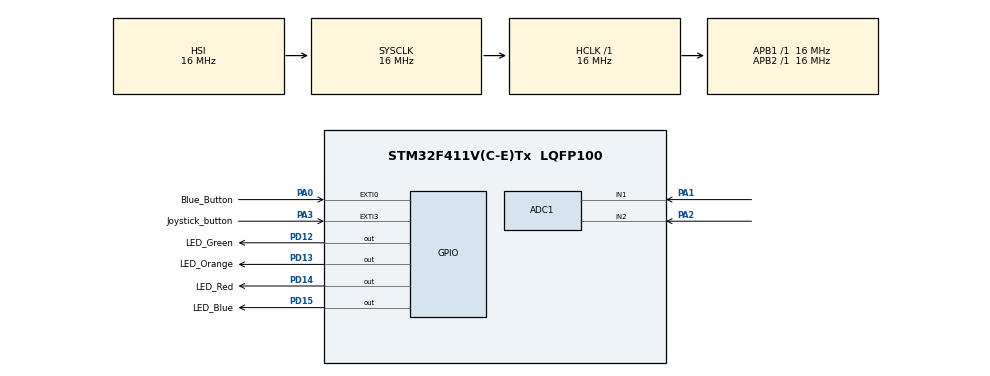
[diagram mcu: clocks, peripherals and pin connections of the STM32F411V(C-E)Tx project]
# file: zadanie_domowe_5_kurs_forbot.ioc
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ADC1.Channel-4\#ChannelRegularConversion=ADC_CHANNEL_1
ADC1.Channel-6\#ChannelRegularConversion=ADC_CHANNEL_2
ADC1.Channel-7\#ChannelRegularConversion=ADC_CHANNEL_TEMPSENSOR
ADC1.ClockPrescaler=ADC_CLOCK_SYNC_PCLK_DIV8
ADC1.ContinuousConvMode=ENABLE
ADC1.DMAContinuousRequests=ENABLE
ADC1.NbrOfConversion=3
ADC1.NbrOfConversionFlag=1
ADC1.Rank-4\#ChannelRegularConversion=1
ADC1.Rank-6\#ChannelRegularConversion=2
ADC1.Rank-7\#ChannelRegularConversion=3
ADC1.SamplingTime-4\#ChannelRegularConversion=ADC_SAMPLETIME_480CYCLES
ADC1.SamplingTime-6\#ChannelRegularConversion=ADC_SAMPLETIME_480CYCLES
ADC1.SamplingTime-7\#ChannelRegularConversion=ADC_SAMPLETIME_480CYCLES
ADC1.ScanConvMode=ENABLE
ADC1.master=1
Dma.ADC1.0.Direction=DMA_PERIPH_TO_MEMORY
Dma.ADC1.0.FIFOMode=DMA_FIFOMODE_DISABLE
Dma.ADC1.0.Instance=DMA2_Stream0
Dma.ADC1.0.MemDataAlignment=DMA_MDATAALIGN_HALFWORD
Dma.ADC1.0.MemInc=DMA_MINC_ENABLE
Dma.ADC1.0.Mode=DMA_CIRCULAR
Dma.ADC1.0.PeriphDataAlignment=DMA_PDATAALIGN_HALFWORD
Dma.ADC1.0.PeriphInc=DMA_PINC_DISABLE
Dma.ADC1.0.Priority=DMA_PRIORITY_LOW
Dma.Request0=ADC1
Mcu.Family=STM32F4
Mcu.Name=STM32F411V(C-E)Tx
Mcu.Package=LQFP100
NVIC.DMA2_Stream0_IRQn=true\:0\:0\:false\:false\:true
NVIC.EXTI0_IRQn=true\:0\:0\:false\:false\:true
NVIC.EXTI3_IRQn=true\:0\:0\:false\:false\:true
NVIC.PriorityGroup=NVIC_PRIORITYGROUP_4
PA0-WKUP.GPIO_Label=Blue_Button
PA0-WKUP.GPIO_ModeDefaultEXTI=GPIO_MODE_IT_RISING
PA0-WKUP.Signal=GPXTI0
PA1.Signal=ADCx_IN1
PA2.Signal=ADCx_IN2
PA3.GPIO_Label=Joystick_button
PA3.GPIO_ModeDefaultEXTI=GPIO_MODE_IT_FALLING
PA3.GPIO_PuPd=GPIO_PULLUP
PA3.Signal=GPXTI3
PD12.GPIO_Label=LED_Green
PD12.Signal=GPIO_Output
PD13.GPIO_Label=LED_Orange
PD13.Signal=GPIO_Output
PD14.GPIO_Label=LED_Red
PD14.Signal=GPIO_Output
PD15.GPIO_Label=LED_Blue
PD15.Signal=GPIO_Output
ProjectManager.HeapSize=0x200
ProjectManager.StackSize=0x400
ProjectManager.TargetToolchain=SW4STM32
RCC.AHBFreq_Value=16000000
RCC.APB1Freq_Value=16000000
RCC.APB2Freq_Value=16000000
RCC.CortexFreq_Value=16000000
RCC.HSE_VALUE=25000000
RCC.HSI_VALUE=16000000
RCC.LSE_VALUE=32768
RCC.SYSCLKFreq_VALUE=16000000
RCC.VCOOutputFreq_Value=192000000
SH.ADCx_IN1.0=ADC1_IN1,IN1
SH.ADCx_IN2.0=ADC1_IN2,IN2
VP_ADC1_TempSens_Input.Mode=IN-TempSens
board=zadanie_domowe_5_kurs_forbot

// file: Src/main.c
/**
  ******************************************************************************
  * File Name          : main.c
  * Description        : Main program body
  ******************************************************************************
  *
  * COPYRIGHT(c) 2017 STMicroelectronics
  *
  * Redistribution and use in source and binary forms, with or without modification,
  * are permitted provided that the following conditions are met:
  *   1. Redistributions of source code must retain the above copyright notice,
  *      this list of conditions and the following disclaimer.
  *   2. Redistributions in binary form must reproduce the above copyright notice,
  *      this list of conditions and the following disclaimer in the documentation
  *      and/or other materials provided with the distribution.
  *   3. Neither the name of STMicroelectronics nor the names of its contributors
  *      may be used to endorse or promote products derived from this software
  *      without specific prior written permission.
  *
  * THIS SOFTWARE IS PROVIDED BY THE COPYRIGHT HOLDERS AND CONTRIBUTORS "AS IS"
  * AND ANY EXPRESS OR IMPLIED WARRANTIES, INCLUDING, BUT NOT LIMITED TO, THE
  * IMPLIED WARRANTIES OF MERCHANTABILITY AND FITNESS FOR A PARTICULAR PURPOSE ARE
  * DISCLAIMED. IN NO EVENT SHALL THE COPYRIGHT HOLDER OR CONTRIBUTORS BE LIABLE
  * FOR ANY DIRECT, INDIRECT, INCIDENTAL, SPECIAL, EXEMPLARY, OR CONSEQUENTIAL
  * DAMAGES (INCLUDING, BUT NOT LIMITED TO, PROCUREMENT OF SUBSTITUTE GOODS OR
  * SERVICES; LOSS OF USE, DATA, OR PROFITS; OR BUSINESS INTERRUPTION) HOWEVER
  * CAUSED AND ON ANY THEORY OF LIABILITY, WHETHER IN CONTRACT, STRICT LIABILITY,
  * OR TORT (INCLUDING NEGLIGENCE OR OTHERWISE) ARISING IN ANY WAY OUT OF THE USE
  * OF THIS SOFTWARE, EVEN IF ADVISED OF THE POSSIBILITY OF SUCH DAMAGE.
  *
  ******************************************************************************
  */
#include "main.h"
#include "stm32f4xx_hal.h"

ADC_HandleTypeDef hadc1;
DMA_HandleTypeDef hdma_adc1;

/* USER CODE BEGIN PV */
/* Private variables ---------------------------------------------------------*/
#define ADC_RESOLUTION 4095
#define UPPER_THRESHOLD (75 * ADC_RESOLUTION) / 100
#define LOWER_THRESHOLD (25 * ADC_RESOLUTION) / 100
uint8_t Alarm = 0;
uint8_t Mode_inverse = 0;
uint8_t AlarmReset = 0;

uint16_t ADCRead[3];

/* USER CODE END PV */

void SystemClock_Config(void);
void Error_Handler(void);
static void MX_GPIO_Init(void);
static void MX_DMA_Init(void);
static void MX_ADC1_Init(void);

/* USER CODE BEGIN PFP */
/* Private function prototypes -----------------------------------------------*/

void HAL_GPIO_EXTI_Callback(uint16_t GPIO_Pin) {
	if (GPIO_Pin == Joystick_button_Pin) {
		if (Mode_inverse) {
			Mode_inverse = 0;
		} else {
			Mode_inverse = 1;
		}
	} else if (GPIO_Pin == Blue_Button_Pin) {
		if (Alarm) {
			Alarm = 0;
			AlarmReset = 1;
		}

	}
}
/* USER CODE END PFP */

int main(void)
{

  /* USER CODE BEGIN 1 */
	uint16_t measurementADC;
	float temperature;
	float Vsense;
	const float V25 = 0.76;
	const float Avg_slope = 0.0025;
	const float SupplyVoltage = 3.0;
	const float ADC_Resolution = 4095.0;
  /* USER CODE END 1 */

  /* MCU Configuration----------------------------------------------------------*/

  /* Reset of all peripherals, Initializes the Flash interface and the Systick. */
  HAL_Init();

  /* Configure the system clock */
  SystemClock_Config();

  /* Initialize all configured peripherals */
  MX_GPIO_Init();
  MX_DMA_Init();
  MX_ADC1_Init();

  /* USER CODE BEGIN 2 */
	HAL_ADC_Start_DMA(&hadc1, (uint32_t*)ADCRead, 3);

  /* USER CODE END 2 */

  /* Infinite loop */
  /* USER CODE BEGIN WHILE */
	while (1) {
		//Alarm
		if (Alarm) {
			HAL_GPIO_WritePin(LED_Green_GPIO_Port, LED_Green_Pin, GPIO_PIN_SET);
			HAL_GPIO_WritePin(LED_Blue_GPIO_Port, LED_Blue_Pin, GPIO_PIN_SET);
			HAL_GPIO_WritePin(LED_Orange_GPIO_Port, LED_Orange_Pin, GPIO_PIN_SET);
			HAL_GPIO_WritePin(LED_Red_GPIO_Port, LED_Red_Pin, GPIO_PIN_SET);

			HAL_Delay(166);

			HAL_GPIO_WritePin(LED_Green_GPIO_Port, LED_Green_Pin, GPIO_PIN_RESET);
			HAL_GPIO_WritePin(LED_Blue_GPIO_Port, LED_Blue_Pin, GPIO_PIN_RESET);
			HAL_GPIO_WritePin(LED_Orange_GPIO_Port, LED_Orange_Pin, GPIO_PIN_RESET);
			HAL_GPIO_WritePin(LED_Red_GPIO_Port, LED_Red_Pin, GPIO_PIN_RESET);

			HAL_Delay(166);
		} else {
			//Y - axis
			if ((ADCRead[0] > UPPER_THRESHOLD && Mode_inverse == 0) || (ADCRead[0] < LOWER_THRESHOLD && Mode_inverse == 1)) {
				HAL_GPIO_WritePin(LED_Orange_GPIO_Port, LED_Orange_Pin, GPIO_PIN_SET);
			} else if ((ADCRead[0] < LOWER_THRESHOLD && Mode_inverse == 0) || (ADCRead[0] > UPPER_THRESHOLD && Mode_inverse == 1)) {
				HAL_GPIO_WritePin(LED_Blue_GPIO_Port, LED_Blue_Pin, GPIO_PIN_SET);
			} else {
				HAL_GPIO_WritePin(LED_Orange_GPIO_Port, LED_Orange_Pin, GPIO_PIN_RESET);
				HAL_GPIO_WritePin(LED_Blue_GPIO_Port, LED_Blue_Pin, GPIO_PIN_RESET);
			}
			//X - axis
			if ((ADCRead[1] > UPPER_THRESHOLD && Mode_inverse == 0) || (ADCRead[1] < LOWER_THRESHOLD && Mode_inverse == 1)) {
				HAL_GPIO_WritePin(LED_Red_GPIO_Port, LED_Red_Pin, GPIO_PIN_SET);
			} else if ((ADCRead[1] < LOWER_THRESHOLD && Mode_inverse == 0) || (ADCRead[1] > UPPER_THRESHOLD && Mode_inverse == 1)) {
				HAL_GPIO_WritePin(LED_Green_GPIO_Port, LED_Green_Pin, GPIO_PIN_SET);
			} else {
				HAL_GPIO_WritePin(LED_Red_GPIO_Port, LED_Red_Pin, GPIO_PIN_RESET);
				HAL_GPIO_WritePin(LED_Green_GPIO_Port, LED_Green_Pin, GPIO_PIN_RESET);
			}

		}
		//Temperature
		measurementADC = ADCRead[2];
		Vsense = (measurementADC * SupplyVoltage) / ADC_Resolution;
		temperature = ((Vsense - V25) / Avg_slope) + 25;

		if (temperature > 30 && (!AlarmReset)) {
			Alarm = 1;
		}

		if (temperature < 30) {
			AlarmReset = 0;
			Alarm = 0;
		}
  /* USER CODE END WHILE */

	}

}

/** System Clock Configuration
*/
void SystemClock_Config(void)
{

  RCC_OscInitTypeDef RCC_OscInitStruct;
  RCC_ClkInitTypeDef RCC_ClkInitStruct;

    /**Configure the main internal regulator output voltage
    */
  __HAL_RCC_PWR_CLK_ENABLE();

  __HAL_PWR_VOLTAGESCALING_CONFIG(PWR_REGULATOR_VOLTAGE_SCALE1);

    /**Initializes the CPU, AHB and APB busses clocks
    */
  RCC_OscInitStruct.OscillatorType = RCC_OSCILLATORTYPE_HSI;
  RCC_OscInitStruct.HSIState = RCC_HSI_ON;
  RCC_OscInitStruct.HSICalibrationValue = 16;
  RCC_OscInitStruct.PLL.PLLState = RCC_PLL_NONE;
  if (HAL_RCC_OscConfig(&RCC_OscInitStruct) != HAL_OK)
  {
    Error_Handler();
  }

    /**Initializes the CPU, AHB and APB busses clocks
    */
  RCC_ClkInitStruct.ClockType = RCC_CLOCKTYPE_HCLK|RCC_CLOCKTYPE_SYSCLK
                              |RCC_CLOCKTYPE_PCLK1|RCC_CLOCKTYPE_PCLK2;
  RCC_ClkInitStruct.SYSCLKSource = RCC_SYSCLKSOURCE_HSI;
  RCC_ClkInitStruct.AHBCLKDivider = RCC_SYSCLK_DIV1;
  RCC_ClkInitStruct.APB1CLKDivider = RCC_HCLK_DIV1;
  RCC_ClkInitStruct.APB2CLKDivider = RCC_HCLK_DIV1;

  if (HAL_RCC_ClockConfig(&RCC_ClkInitStruct, FLASH_LATENCY_0) != HAL_OK)
  {
    Error_Handler();
  }

    /**Configure the Systick interrupt time
    */
  HAL_SYSTICK_Config(HAL_RCC_GetHCLKFreq()/1000);

    /**Configure the Systick
    */
  HAL_SYSTICK_CLKSourceConfig(SYSTICK_CLKSOURCE_HCLK);

  /* SysTick_IRQn interrupt configuration */
  HAL_NVIC_SetPriority(SysTick_IRQn, 0, 0);
}

/* ADC1 init function */
static void MX_ADC1_Init(void)
{

  ADC_ChannelConfTypeDef sConfig;

    /**Configure the global features of the ADC (Clock, Resolution, Data Alignment and number of conversion)
    */
  hadc1.Instance = ADC1;
  hadc1.Init.ClockPrescaler = ADC_CLOCK_SYNC_PCLK_DIV8;
  hadc1.Init.Resolution = ADC_RESOLUTION_12B;
  hadc1.Init.ScanConvMode = ENABLE;
  hadc1.Init.ContinuousConvMode = ENABLE;
  hadc1.Init.DiscontinuousConvMode = DISABLE;
  hadc1.Init.ExternalTrigConvEdge = ADC_EXTERNALTRIGCONVEDGE_NONE;
  hadc1.Init.ExternalTrigConv = ADC_SOFTWARE_START;
  hadc1.Init.DataAlign = ADC_DATAALIGN_RIGHT;
  hadc1.Init.NbrOfConversion = 3;
  hadc1.Init.DMAContinuousRequests = ENABLE;
  hadc1.Init.EOCSelection = ADC_EOC_SINGLE_CONV;
  if (HAL_ADC_Init(&hadc1) != HAL_OK)
  {
    Error_Handler();
  }

    /**Configure for the selected ADC regular channel its corresponding rank in the sequencer and its sample time.
    */
  sConfig.Channel = ADC_CHANNEL_1;
  sConfig.Rank = 1;
  sConfig.SamplingTime = ADC_SAMPLETIME_480CYCLES;
  if (HAL_ADC_ConfigChannel(&hadc1, &sConfig) != HAL_OK)
  {
    Error_Handler();
  }

    /**Configure for the selected ADC regular channel its corresponding rank in the sequencer and its sample time.
    */
  sConfig.Channel = ADC_CHANNEL_2;
  sConfig.Rank = 2;
  if (HAL_ADC_ConfigChannel(&hadc1, &sConfig) != HAL_OK)
  {
    Error_Handler();
  }

    /**Configure for the selected ADC regular channel its corresponding rank in the sequencer and its sample time.
    */
  sConfig.Channel = ADC_CHANNEL_TEMPSENSOR;
  sConfig.Rank = 3;
  if (HAL_ADC_ConfigChannel(&hadc1, &sConfig) != HAL_OK)
  {
    Error_Handler();
  }

}

static void MX_DMA_Init(void)
{
  /* DMA controller clock enable */
  __HAL_RCC_DMA2_CLK_ENABLE();

  /* DMA interrupt init */
  /* DMA2_Stream0_IRQn interrupt configuration */
  HAL_NVIC_SetPriority(DMA2_Stream0_IRQn, 0, 0);
  HAL_NVIC_EnableIRQ(DMA2_Stream0_IRQn);

}

/** Configure pins as
        * Analog
        * Input
        * Output
        * EVENT_OUT
        * EXTI
*/
static void MX_GPIO_Init(void)
{

  GPIO_InitTypeDef GPIO_InitStruct;

  /* GPIO Ports Clock Enable */
  __HAL_RCC_GPIOA_CLK_ENABLE();
  __HAL_RCC_GPIOD_CLK_ENABLE();

  /*Configure GPIO pin : Blue_Button_Pin */
  GPIO_InitStruct.Pin = Blue_Button_Pin;
  GPIO_InitStruct.Mode = GPIO_MODE_IT_RISING;
  GPIO_InitStruct.Pull = GPIO_NOPULL;
  HAL_GPIO_Init(Blue_Button_GPIO_Port, &GPIO_InitStruct);

  /*Configure GPIO pin : Joystick_button_Pin */
  GPIO_InitStruct.Pin = Joystick_button_Pin;
  GPIO_InitStruct.Mode = GPIO_MODE_IT_FALLING;
  GPIO_InitStruct.Pull = GPIO_PULLUP;
  HAL_GPIO_Init(Joystick_button_GPIO_Port, &GPIO_InitStruct);

  /*Configure GPIO pins : LED_Green_Pin LED_Orange_Pin LED_Red_Pin LED_Blue_Pin */
  GPIO_InitStruct.Pin = LED_Green_Pin|LED_Orange_Pin|LED_Red_Pin|LED_Blue_Pin;
  GPIO_InitStruct.Mode = GPIO_MODE_OUTPUT_PP;
  GPIO_InitStruct.Pull = GPIO_NOPULL;
  GPIO_InitStruct.Speed = GPIO_SPEED_FREQ_LOW;
  HAL_GPIO_Init(GPIOD, &GPIO_InitStruct);

  /*Configure GPIO pin Output Level */
  HAL_GPIO_WritePin(GPIOD, LED_Green_Pin|LED_Orange_Pin|LED_Red_Pin|LED_Blue_Pin, GPIO_PIN_RESET);

  /* EXTI interrupt init*/
  HAL_NVIC_SetPriority(EXTI0_IRQn, 0, 0);
  HAL_NVIC_EnableIRQ(EXTI0_IRQn);

  HAL_NVIC_SetPriority(EXTI3_IRQn, 0, 0);
  HAL_NVIC_EnableIRQ(EXTI3_IRQn);

}

void Error_Handler(void)
{
	while (1) {
	}
}

/************************ (C) COPYRIGHT STMicroelectronics *****END OF FILE****/
